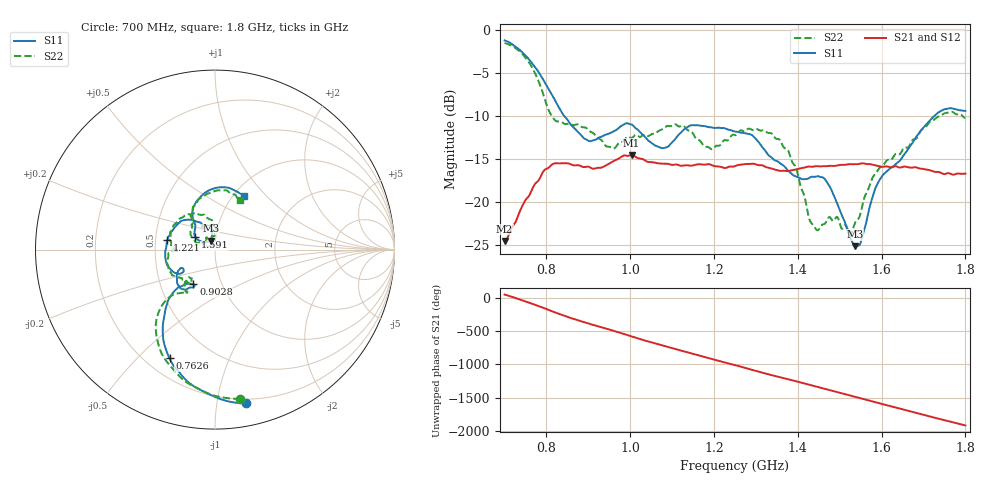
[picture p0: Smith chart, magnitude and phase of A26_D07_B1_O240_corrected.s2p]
! Created with skrf 1.9.0 (http://scikit-rf.org).
# Hz S RI R 50.0
!freq ReS11 ImS11 ReS21 ImS21 ReS12 ImS12 ReS22 ImS22
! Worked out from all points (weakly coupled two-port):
!   1601 points, 700 MHz to 1.8 GHz, reference 50 ohm
!   highest |S21| = -14.49 dB at 1.003 GHz (marker M1); lowest = -24.5 dB at 700 MHz (marker M2)
!   lowest |S11| = -25.1 dB at 1.537 GHz (marker M3), VSWR 1.12, Z = 47.4 + j4.79 ohm
!   |S11| at or under -10 dB: 843 MHz to 1.725 GHz (881.7 MHz wide, 68.7 % of centre)
!   |S22| runs from -23.8 to -1.5 dB; largest |S21 - S12| = 0.0035
!   S11 on the Smith chart (normalised r, x): 700 MHz: 0.17, -1.21; 762.6 MHz: 0.29, -0.63; 902.8 MHz: 0.73, -0.30; 1.221 GHz: 0.58, +0.07; 1.591 GHz: 0.80, +0.11; 1.8 GHz: 1.12, +0.76
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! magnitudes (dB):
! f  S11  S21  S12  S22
! 700 MHz  -1.2  -24.5  -24.2  -1.5
! 762.6 MHz  -3.7  -18.8  -18.8  -4.1
! 817.6 MHz  -7.9  -15.5  -15.6  -10.3
! 883.6 MHz  -12.2  -15.8  -15.7  -11.2
! 902.8 MHz  -12.9  -15.9  -15.9  -11.7
! 957.8 MHz  -11.8  -15.3  -15.3  -13.7
! 1.003 GHz  -10.9  -14.5  -14.6  -12.5
! 1.067 GHz  -13.5  -15.5  -15.4  -11.7
! 1.144 GHz  -11.0  -15.7  -15.7  -11.7
! 1.192 GHz  -11.3  -15.6  -15.6  -13.8
! 1.221 GHz  -11.3  -16.0  -16.0  -12.9
! 1.25 GHz  -11.8  -15.8  -15.7  -12.2
! 1.357 GHz  -15.4  -16.3  -16.3  -12.7
! 1.395 GHz  -17.0  -16.2  -16.2  -15.9
! 1.434 GHz  -17.0  -15.9  -15.8  -22.5
! 1.472 GHz  -17.8  -15.8  -15.8  -21.8
! 1.537 GHz  -25.1  -15.6  -15.6  -22.4
! 1.551 GHz  -24.5  -15.5  -15.5  -21.0
! 1.591 GHz  -17.7  -15.8  -15.8  -16.3
! 1.617 GHz  -16.2  -15.9  -15.8  -15.1
! 1.733 GHz  -9.6  -16.5  -16.5  -10.1
! 1.8 GHz  -9.4  -16.6  -16.6  -10.1
